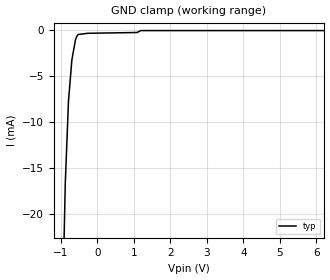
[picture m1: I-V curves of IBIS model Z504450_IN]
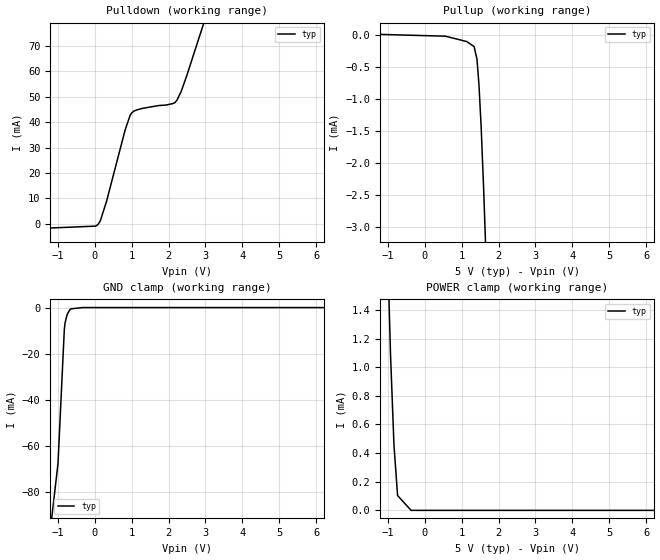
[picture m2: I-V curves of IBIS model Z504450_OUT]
| YOU ARE ONLY AUTHORIZED TO USE THIS SOFTWARE
| ACCORDING TO LICENSOR'S LICENSE RESTRICTIONS.
[IBIS Ver] 3.1
[File Name] sn54ls377j.ibs
[File Rev] 2.0
[Source] Measured and created by ICX Technology
[Date] Friday 7/14/00 9:08:15 AM
[Copyright]
| (C) COPYRIGHT 1993-2000
| MENTOR GRAPHICS CORPORATION
| ICX STANDARD LIBRARY, ICX PROJECT MODELING,
| ICX CUSTOM MODELING, ICX VENDOR MODEL
| ALL RIGHTS RESERVED.
| THE FOLLOWING ARE TRADEMARKS OR SERVICE MARKS OF
| MENTOR GRAPHICS CORPORATION:ICX (R), ICX STANDARD
| LIBRARY(R), ICX PROJECT MODELING(R), ICX CUSTOM
| MODELING(R), qualityIBIS(TM), MODELVIEWER(TM),
| AND MODELEDITOR(TM)
| ALL COPIES OF SOFTWARE, INCLUDING BUT NOT LIMITED TO
| ANY MODIFICATIONS, ENHANCEMENTS OR DERIVATIVE WORKS,
| MUST CONTAIN ALL MENTOR GRAPHICS CORPORATION'S
| NOTICES AND LEGENDS, INCLUDING THOSE EMBEDDED IN
| SOFTWARE AND THOSE AFFIXED TO SOFTWARE MEDIUM
| AND CONTAINER, AS RECEIVED FROM MENTOR GRAPHICS
| CORPORATION.
|  ZAP Model Builder 2.7
[Component] SN54LS377J
[Manufacturer] OnSemiconductor
[Package]
| variable   typ   min   max
R_pkg  .216ohms NA NA
L_pkg  5.76nH NA NA
C_pkg  2.193pF NA NA
[Pin] signal_name  model_name  R_pin  L_pin C_pin
1 _G Z504450_IN .232 9.76n 3.179p
2 Q0 Z504450_OUT .224 7.26n 2.686p
3 D0 Z504450_IN .216 5.26n 2.193p
4 D1 Z504450_IN .208 3.76n 1.7p
5 Q1 Z504450_OUT .2 2.76n 1.207p
6 Q2 Z504450_OUT .2 2.76n 1.207p
7 D2 Z504450_IN .208 3.76n 1.7p
8 D3 Z504450_IN .216 5.26n 2.193p
9 Q3 Z504450_OUT .224 7.26n 2.686p
10 GND GND .232 9.76n 3.179p
11 CLK Z504450_IN .232 9.76n 3.179p
12 Q4 Z504450_OUT .224 7.26n 2.686p
13 D4 Z504450_IN .216 5.26n 2.193p
14 D5 Z504450_IN .208 3.76n 1.7p
15 Q5 Z504450_OUT .2 2.76n 1.207p
16 Q6 Z504450_OUT .2 2.76n 1.207p
17 D6 Z504450_IN .208 3.76n 1.7p
18 D7 Z504450_IN .216 5.26n 2.193p
19 Q7 Z504450_OUT .224 7.26n 2.686p
20 VCC POWER .232 9.76n 3.179p
| Models and submodels in the file (2): Z504450_IN (Input), Z504450_OUT (Output)
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| (C) COPYRIGHT 1993-2000
| MENTOR GRAPHICS CORPORATION
| ICX STANDARD LIBRARY, ICX PROJECT MODELING,
| ICX CUSTOM MODELING, ICX VENDOR MODEL
| ALL RIGHTS RESERVED.
| THE FOLLOWING ARE TRADEMARKS OR SERVICE MARKS OF
| MENTOR GRAPHICS CORPORATION:ICX (R), ICX STANDARD
| LIBRARY(R), ICX PROJECT MODELING(R), ICX CUSTOM
| MODELING(R), qualityIBIS(TM), MODELVIEWER(TM),
| AND MODELEDITOR(TM)
| ALL COPIES OF SOFTWARE, INCLUDING BUT NOT LIMITED TO
| ANY MODIFICATIONS, ENHANCEMENTS OR DERIVATIVE WORKS,
| MUST CONTAIN ALL MENTOR GRAPHICS CORPORATION'S
| NOTICES AND LEGENDS, INCLUDING THOSE EMBEDDED IN
| SOFTWARE AND THOSE AFFIXED TO SOFTWARE MEDIUM
| AND CONTAINER, AS RECEIVED FROM MENTOR GRAPHICS
| CORPORATION.
| Model Application Version 1.89 2/18/99.
[Model] Z504450_IN
Model_type Input
Vinl = 800.0mV
Vinh = 2.000V
C_comp 4.000pF NA NA
| variable typ   min   max
[Voltage Range] 5.000V NA NA
[GND Clamp Reference] 0.000V NA NA
[POWER Clamp Reference] 5.000V NA NA
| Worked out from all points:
|   GND clamp passes 1 mA (typ) near -0.60 V on its own axis
[GND Clamp]
-5V       -779.3mA   NA         NA
-878.9mV  -16.77mA   NA         NA
-790.4mV  -7.688mA   NA         NA
-698.1mV  -3.225mA   NA         NA
-600mV    -1.022mA   NA         NA
-563.5mV  -647.8uA   NA         NA
-527.3mV  -437.7uA   NA         NA
-263.7mV  -304.5uA   NA         NA
1.089V    -219.1uA   NA         NA
1.188V    -9.554uA   NA         NA
10V       -9.554uA   NA         NA
[POWER Clamp]
-5V       0A         NA         NA
10V       0A         NA         NA
| (C) COPYRIGHT 1993-2000
| MENTOR GRAPHICS CORPORATION
| ICX STANDARD LIBRARY, ICX PROJECT MODELING,
| ICX CUSTOM MODELING, ICX VENDOR MODEL
| ALL RIGHTS RESERVED.
| THE FOLLOWING ARE TRADEMARKS OR SERVICE MARKS OF
| MENTOR GRAPHICS CORPORATION:ICX (R), ICX STANDARD
| LIBRARY(R), ICX PROJECT MODELING(R), ICX CUSTOM
| MODELING(R), qualityIBIS(TM), MODELVIEWER(TM),
| AND MODELEDITOR(TM)
| ALL COPIES OF SOFTWARE, INCLUDING BUT NOT LIMITED TO
| ANY MODIFICATIONS, ENHANCEMENTS OR DERIVATIVE WORKS,
| MUST CONTAIN ALL MENTOR GRAPHICS CORPORATION'S
| NOTICES AND LEGENDS, INCLUDING THOSE EMBEDDED IN
| SOFTWARE AND THOSE AFFIXED TO SOFTWARE MEDIUM
| AND CONTAINER, AS RECEIVED FROM MENTOR GRAPHICS
| CORPORATION.
| Model Application Version 1.89 2/18/99.
[Model] Z504450_OUT
Model_type Output
Vref=5.000V
Rref=2.000kohms
Cref=15.00pF
Vmeas=1.300V
C_comp 8.000pF NA NA
| variable typ   min   max
[Voltage Range] 5.000V NA NA
[POWER Clamp Reference] 5.000V NA NA
[Pullup Reference] 5.000V NA NA
[Pulldown Reference] 0.000V NA NA
[GND Clamp Reference] 0.000V NA NA
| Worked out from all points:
|   slope of the pulldown table from 0 to 0.75 V, typ, clamps not added: 22.2 ohm
|   slope of the pullup table from 0 to 0.75 V, typ, clamps not added: 20.7 kohm
|   GND clamp passes 1 mA (typ) near -0.67 V on its own axis
|   POWER clamp passes 1 mA (typ) near -0.91 V on its own axis
[GND Clamp]
-5V       -751.2mA   NA         NA
-1.201V   -96.88mA   NA         NA
-991.2mV  -67.7mA    NA         NA
-819.8mV  -9.442mA   NA         NA
-800.8mV  -6.742mA   NA         NA
-745.9mV  -3.182mA   NA         NA
-683.6mV  -1.243mA   NA         NA
-644.6mV  -555.7uA   NA         NA
-322.3mV  0A         NA         NA
10V       0A         NA         NA
[Pulldown]
-5V       -4.026mA   NA         NA
29.3mV    -972.1uA   NA         NA
151.3mV   1.001mA    NA         NA
322.2mV   8.771mA    NA         NA
825.6mV   36.96mA    NA         NA
961.9mV   42.76mA    NA         NA
1.058V    44.34mA    NA         NA
1.141V    44.84mA    NA         NA
2.176V    47.74mA    NA         NA
2.346V    52.27mA    NA         NA
2.5V      58.64mA    NA         NA
10V       396.6mA    NA         NA
[Pullup]
-5V       76.34uA    NA         NA
562mV     -12.38uA   NA         NA
1.141V    -96.47uA   NA         NA
1.338V    -174.1uA   NA         NA
1.416V    -368.7uA   NA         NA
1.47V     -766.7uA   NA         NA
1.528V    -1.408mA   NA         NA
1.596V    -2.382mA   NA         NA
10V       -141.6mA   NA         NA
[POWER Clamp]
-5V       45mA       NA         NA
-1.035V   2.127mA    NA         NA
-923mV    1.09mA     NA         NA
-830mV    458.5uA    NA         NA
-732mV    103.6uA    NA         NA
-366mV    0A         NA         NA
10V       0A         NA         NA
[Ramp]
| variable typ min max
dV/dt_r 1.842/11.66n NA NA
dV/dt_f 1.842/2.348n NA NA
R_load = 500.0Ohms
